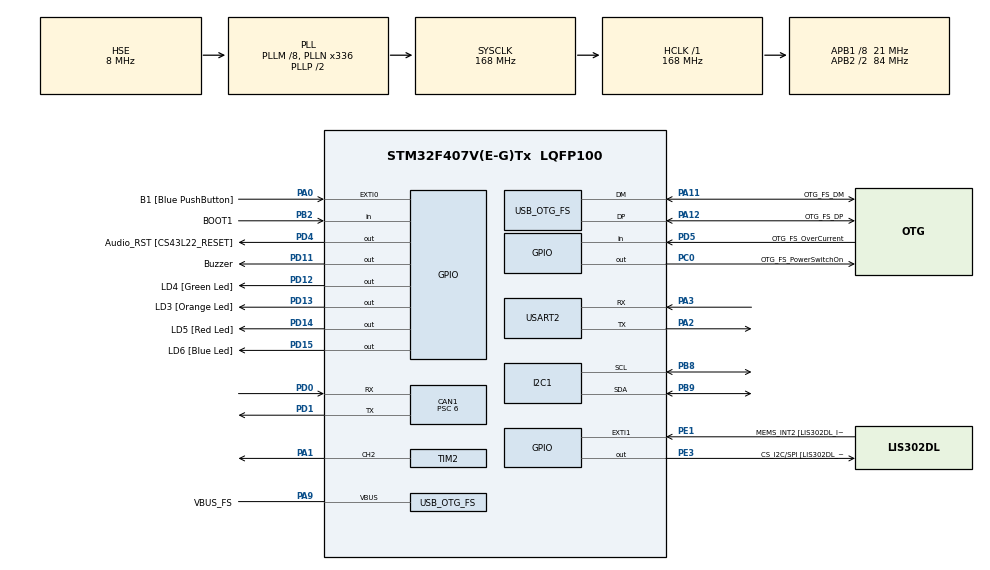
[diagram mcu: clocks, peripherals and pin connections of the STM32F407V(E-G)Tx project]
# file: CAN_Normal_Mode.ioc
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CAN1.BS1=CAN_BS1_11TQ
CAN1.BS2=CAN_BS2_2TQ
CAN1.CalculateBaudRate=250000
CAN1.CalculateTimeBit=4000
CAN1.CalculateTimeQuantum=285.7142857142857
CAN1.Mode=CAN_MODE_NORMAL
CAN1.Prescaler=6
Mcu.Family=STM32F4
Mcu.Name=STM32F407V(E-G)Tx
Mcu.Package=LQFP100
NVIC.CAN1_RX0_IRQn=true\:0\:0\:false\:false\:true\:true\:true\:true
NVIC.CAN1_RX1_IRQn=true\:0\:0\:false\:false\:true\:true\:true\:true
NVIC.CAN1_SCE_IRQn=true\:0\:0\:false\:false\:true\:true\:true\:true
NVIC.CAN1_TX_IRQn=true\:0\:0\:false\:false\:true\:true\:true\:true
NVIC.OTG_FS_IRQn=true\:0\:0\:false\:false\:true\:true\:true\:true
NVIC.PriorityGroup=NVIC_PRIORITYGROUP_0
NVIC.TIM2_IRQn=true\:0\:0\:false\:false\:true\:true\:true\:true
PA0-WKUP.GPIO_Label=B1 [Blue PushButton]
PA0-WKUP.GPIO_ModeDefaultEXTI=GPIO_MODE_EVT_RISING
PA0-WKUP.GPIO_PuPd=GPIO_NOPULL
PA0-WKUP.Signal=GPXTI0
PA1.Signal=S_TIM2_CH2
PA10.GPIO_Label=OTG_FS_ID
PA10.GPIO_Mode=GPIO_MODE_AF_PP
PA10.GPIO_PuPd=GPIO_NOPULL
PA10.GPIO_Speed=GPIO_SPEED_FREQ_LOW
PA10.Signal=USB_OTG_FS_ID
PA11.GPIO_Label=OTG_FS_DM
PA11.GPIO_Mode=GPIO_MODE_AF_PP
PA11.GPIO_PuPd=GPIO_NOPULL
PA11.GPIO_Speed=GPIO_SPEED_FREQ_LOW
PA11.Mode=Host_Only
PA11.Signal=USB_OTG_FS_DM
PA12.GPIO_Label=OTG_FS_DP
PA12.GPIO_Mode=GPIO_MODE_AF_PP
PA12.GPIO_PuPd=GPIO_NOPULL
PA12.GPIO_Speed=GPIO_SPEED_FREQ_LOW
PA12.Mode=Host_Only
PA12.Signal=USB_OTG_FS_DP
PA13.GPIO_Label=SWDIO
PA13.Mode=Serial_Wire
PA13.Signal=SYS_JTMS-SWDIO
PA14.GPIO_Label=SWCLK
PA14.Mode=Serial_Wire
PA14.Signal=SYS_JTCK-SWCLK
PA2.Mode=Asynchronous
PA2.Signal=USART2_TX
PA3.Mode=Asynchronous
PA3.Signal=USART2_RX
PA4.GPIO_Label=I2S3_WS [CS43L22_LRCK]
PA4.GPIO_Mode=GPIO_MODE_AF_PP
PA4.GPIO_PuPd=GPIO_NOPULL
PA4.GPIO_Speed=GPIO_SPEED_FREQ_LOW
PA4.Signal=I2S3_WS
PA5.GPIO_Label=SPI1_SCK [LIS302DL_SCL/SPC]
PA5.GPIO_Mode=GPIO_MODE_AF_PP
PA5.GPIO_PuPd=GPIO_NOPULL
PA5.GPIO_Speed=GPIO_SPEED_FREQ_LOW
PA5.Signal=SPI1_SCK
PA6.GPIO_Label=SPI1_MISO [LIS302DL_SDO]
PA6.GPIO_Mode=GPIO_MODE_AF_PP
PA6.GPIO_PuPd=GPIO_NOPULL
PA6.GPIO_Speed=GPIO_SPEED_FREQ_LOW
PA6.Signal=SPI1_MISO
PA7.GPIO_Label=SPI1_MOSI [LIS302DL_SDA/SDI/SDO]
PA7.GPIO_Mode=GPIO_MODE_AF_PP
PA7.GPIO_PuPd=GPIO_NOPULL
PA7.GPIO_Speed=GPIO_SPEED_FREQ_LOW
PA7.Signal=SPI1_MOSI
PA9.GPIO_Label=VBUS_FS
PA9.GPIO_Mode=GPIO_MODE_INPUT
PA9.GPIO_PuPd=GPIO_NOPULL
PA9.Mode=Activate_VBUS
PA9.Signal=USB_OTG_FS_VBUS
PB10.GPIO_Label=CLK_IN [MP45DT02_CLK]
PB10.GPIO_Mode=GPIO_MODE_AF_PP
PB10.GPIO_PuPd=GPIO_NOPULL
PB10.GPIO_Speed=GPIO_SPEED_FREQ_LOW
PB10.Signal=I2S2_CK
PB2.GPIO_Label=BOOT1
PB2.GPIO_Mode=GPIO_MODE_INPUT
PB2.GPIO_PuPd=GPIO_NOPULL
PB2.Signal=GPIO_Input
PB3.GPIO_Label=SWO
PB3.Signal=SYS_JTDO-SWO
PB8.Mode=I2C
PB8.Signal=I2C1_SCL
PB9.Mode=I2C
PB9.Signal=I2C1_SDA
PC0.GPIO_Label=OTG_FS_PowerSwitchOn
PC0.GPIO_PuPd=GPIO_NOPULL
PC0.GPIO_Speed=GPIO_SPEED_FREQ_LOW
PC0.PinState=GPIO_PIN_SET
PC0.Signal=GPIO_Output
PC10.GPIO_Label=I2S3_SCK [CS43L22_SCLK]
PC10.GPIO_Mode=GPIO_MODE_AF_PP
PC10.GPIO_PuPd=GPIO_NOPULL
PC10.GPIO_Speed=GPIO_SPEED_FREQ_LOW
PC10.Signal=I2S3_CK
PC12.GPIO_Label=I2S3_SD [CS43L22_SDIN]
PC12.GPIO_Mode=GPIO_MODE_AF_PP
PC12.GPIO_PuPd=GPIO_NOPULL
PC12.GPIO_Speed=GPIO_SPEED_FREQ_LOW
PC12.Signal=I2S3_SD
PC14-OSC32_IN.GPIO_Label=PC14-OSC32_IN
PC14-OSC32_IN.Mode=LSE-External-Oscillator
PC14-OSC32_IN.Signal=RCC_OSC32_IN
PC15-OSC32_OUT.GPIO_Label=PC15-OSC32_OUT
PC15-OSC32_OUT.Mode=LSE-External-Oscillator
PC15-OSC32_OUT.Signal=RCC_OSC32_OUT
PC3.GPIO_Label=PDM_OUT [MP45DT02_DOUT]
PC3.GPIO_Mode=GPIO_MODE_AF_PP
PC3.GPIO_PuPd=GPIO_NOPULL
PC3.GPIO_Speed=GPIO_SPEED_FREQ_LOW
PC3.Signal=I2S2_SD
PC7.GPIO_Label=I2S3_MCK [CS43L22_MCLK]
PC7.GPIO_Mode=GPIO_MODE_AF_PP
PC7.GPIO_PuPd=GPIO_NOPULL
PC7.GPIO_Speed=GPIO_SPEED_FREQ_LOW
PC7.Signal=I2S3_MCK
PD0.Mode=CAN_Activate
PD0.Signal=CAN1_RX
PD1.Mode=CAN_Activate
PD1.Signal=CAN1_TX
PD11.GPIO_Label=Buzzer
PD11.Signal=GPIO_Output
PD12.GPIO_Label=LD4 [Green Led]
PD12.GPIO_PuPd=GPIO_NOPULL
PD12.GPIO_Speed=GPIO_SPEED_FREQ_LOW
PD12.Signal=GPIO_Output
PD13.GPIO_Label=LD3 [Orange Led]
PD13.GPIO_PuPd=GPIO_NOPULL
PD13.GPIO_Speed=GPIO_SPEED_FREQ_LOW
PD13.Signal=GPIO_Output
PD14.GPIO_Label=LD5 [Red Led]
PD14.GPIO_PuPd=GPIO_NOPULL
PD14.GPIO_Speed=GPIO_SPEED_FREQ_LOW
PD14.Signal=GPIO_Output
PD15.GPIO_Label=LD6 [Blue Led]
PD15.GPIO_PuPd=GPIO_NOPULL
PD15.GPIO_Speed=GPIO_SPEED_FREQ_LOW
PD15.Signal=GPIO_Output
PD4.GPIO_Label=Audio_RST [CS43L22_RESET]
PD4.GPIO_PuPd=GPIO_NOPULL
PD4.GPIO_Speed=GPIO_SPEED_FREQ_LOW
PD4.Signal=GPIO_Output
PD5.GPIO_Label=OTG_FS_OverCurrent
PD5.GPIO_Mode=GPIO_MODE_INPUT
PD5.GPIO_PuPd=GPIO_NOPULL
PD5.Signal=GPIO_Input
PE1.GPIO_Label=MEMS_INT2 [LIS302DL_INT2]
PE1.GPIO_ModeDefaultEXTI=GPIO_MODE_EVT_RISING
PE1.GPIO_PuPd=GPIO_NOPULL
PE1.Signal=GPXTI1
PE3.GPIO_Label=CS_I2C/SPI [LIS302DL_CS_I2C/SPI]
PE3.GPIO_PuPd=GPIO_NOPULL
PE3.GPIO_Speed=GPIO_SPEED_FREQ_LOW
PE3.Signal=GPIO_Output
PH0-OSC_IN.GPIO_Label=PH0-OSC_IN
PH0-OSC_IN.Mode=HSE-External-Oscillator
PH0-OSC_IN.Signal=RCC_OSC_IN
PH1-OSC_OUT.GPIO_Label=PH1-OSC_OUT
PH1-OSC_OUT.Mode=HSE-External-Oscillator
PH1-OSC_OUT.Signal=RCC_OSC_OUT
ProjectManager.HeapSize=0x200
ProjectManager.StackSize=0x400
ProjectManager.TargetToolchain=STM32CubeIDE
RCC.48MHZClocksFreq_Value=48000000
RCC.AHBFreq_Value=168000000
RCC.APB1CLKDivider=RCC_HCLK_DIV8
RCC.APB1Freq_Value=21000000
RCC.APB1TimFreq_Value=42000000
RCC.APB2CLKDivider=RCC_HCLK_DIV2
RCC.APB2Freq_Value=84000000
RCC.APB2TimFreq_Value=168000000
RCC.CortexFreq_Value=168000000
RCC.HCLKFreq_Value=168000000
RCC.HSE_VALUE=8000000
RCC.HSI_VALUE=16000000
RCC.PLLM=8
RCC.PLLN=336
RCC.PLLQ=7
RCC.SYSCLKFreq_VALUE=168000000
RCC.SYSCLKSource=RCC_SYSCLKSOURCE_PLLCLK
RCC.VCOOutputFreq_Value=336000000
SH.S_TIM2_CH2.0=TIM2_CH2,PWM Generation2 CH2
TIM2.Channel-PWM\ Generation2\ CH2=TIM_CHANNEL_2
TIM2.Period=10000-1
TIM2.Prescaler=84-1
USART2.VirtualMode=VM_ASYNC
USB_HOST.BSP.number=1
USB_HOST.USBH_HandleTypeDef-CDC_FS=hUsbHostFS
USB_HOST.VirtualModeFS=Cdc
USB_HOST0.BSP.STBoard=false
USB_HOST0.BSP.api=Unknown
USB_HOST0.BSP.instance=PC0
USB_HOST0.BSP.ip=GPIO
USB_HOST0.BSP.mode=Output
USB_HOST0.BSP.name=Drive_VBUS_FS
USB_HOST0.BSP.solution=PC0
USB_OTG_FS.VirtualMode=Host_Only
USB_OTG_FS.phy_itface=HCD_PHY_EMBEDDED
VP_TIM2_VS_ClockSourceINT.Mode=Internal
VP_USB_HOST_VS_USB_HOST_CDC_FS.Mode=CDC_FS
board=STM32F407G-DISC1

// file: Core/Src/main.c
/* USER CODE BEGIN Header */
/**
  ******************************************************************************
  * @file           : main.c
  * @brief          : Main program body
  ******************************************************************************
  * @attention
  *
  * Copyright (c) 2024 STMicroelectronics.
  * All rights reserved.
  *
  * This software is licensed under terms that can be found in the LICENSE file
  * in the root directory of this software component.
  * If no LICENSE file comes with this software, it is provided AS-IS.
  *
  ******************************************************************************
  */
/* USER CODE END Header */
#include "main.h"
#include "usb_host.h"

/* USER CODE BEGIN Includes */
#include <stdio.h>
#include <string.h>
/* USER CODE END Includes */

/* USER CODE BEGIN PD */
#define SLAVE_ADDRESS_LCD  (0x27 << 1)

#define LCD_BACKLIGHT 0x08
#define LCD_NOBACKLIGHT 0x00
/* USER CODE END PD */

CAN_HandleTypeDef hcan1;

I2C_HandleTypeDef hi2c1;

TIM_HandleTypeDef htim2;

UART_HandleTypeDef huart2;

/* USER CODE BEGIN PV */
CAN_RxHeaderTypeDef RxHeader;
uint32_t delay = 0;
uint8_t fire = 0;
/* USER CODE END PV */

void SystemClock_Config(void);
static void MX_GPIO_Init(void);
static void MX_CAN1_Init(void);
static void MX_USART2_UART_Init(void);
static void MX_I2C1_Init(void);
static void MX_TIM2_Init(void);
void MX_USB_HOST_Process(void);

/* USER CODE BEGIN PFP */

static void CAN_Filter_Config(void);
static void distanceAction(uint32_t response);
static void distanceAlarm(uint32_t delay);
static void checkFire(uint8_t fire);
void lcd_init (void);   // initialize lcd

void lcd_send_cmd (char cmd);  // send command to the lcd

void lcd_send_data (char data);  // send data to the lcd

void lcd_send_string (char *str);  // send string to the lcd

void lcd_put_cur(int row, int col);  // put cursor at the entered position row (0 or 1), col (0-15);

void lcd_clear (void);
/* USER CODE END PFP */

/* USER CODE BEGIN 0 */
char msg[50];
/* USER CODE END 0 */

int main(void)
{

  /* MCU Configuration--------------------------------------------------------*/

  /* Reset of all peripherals, Initializes the Flash interface and the Systick. */
  HAL_Init();

  /* Configure the system clock */
  SystemClock_Config();

  /* Initialize all configured peripherals */
  MX_GPIO_Init();
  MX_USB_HOST_Init();
  MX_CAN1_Init();
  MX_USART2_UART_Init();
  MX_I2C1_Init();
  MX_TIM2_Init();
  /* USER CODE BEGIN 2 */

  lcd_init();

  CAN_Filter_Config();

  if(HAL_CAN_ActivateNotification(&hcan1,CAN_IT_TX_MAILBOX_EMPTY | CAN_IT_RX_FIFO0_MSG_PENDING | CAN_IT_BUSOFF) != HAL_OK)
  {
	  Error_Handler();
  }

  if( HAL_CAN_Start(&hcan1) != HAL_OK)
  {
	  Error_Handler();
  }

  sprintf(msg,"Started\r\n");
  HAL_UART_Transmit(&huart2,(uint8_t*)msg,strlen(msg),HAL_MAX_DELAY);

  /* USER CODE END 2 */

  /* Infinite loop */
  while (1)
  {
    MX_USB_HOST_Process();

    /* USER CODE BEGIN 3 */
    distanceAlarm(delay);
    checkFire(fire);
  }
  /* USER CODE END 3 */
}

void SystemClock_Config(void)
{
  RCC_OscInitTypeDef RCC_OscInitStruct = {0};
  RCC_ClkInitTypeDef RCC_ClkInitStruct = {0};

  /** Configure the main internal regulator output voltage
  */
  __HAL_RCC_PWR_CLK_ENABLE();
  __HAL_PWR_VOLTAGESCALING_CONFIG(PWR_REGULATOR_VOLTAGE_SCALE1);

  /** Initializes the RCC Oscillators according to the specified parameters
  * in the RCC_OscInitTypeDef structure.
  */
  RCC_OscInitStruct.OscillatorType = RCC_OSCILLATORTYPE_HSE;
  RCC_OscInitStruct.HSEState = RCC_HSE_ON;
  RCC_OscInitStruct.PLL.PLLState = RCC_PLL_ON;
  RCC_OscInitStruct.PLL.PLLSource = RCC_PLLSOURCE_HSE;
  RCC_OscInitStruct.PLL.PLLM = 8;
  RCC_OscInitStruct.PLL.PLLN = 336;
  RCC_OscInitStruct.PLL.PLLP = RCC_PLLP_DIV2;
  RCC_OscInitStruct.PLL.PLLQ = 7;
  if (HAL_RCC_OscConfig(&RCC_OscInitStruct) != HAL_OK)
  {
    Error_Handler();
  }

  /** Initializes the CPU, AHB and APB buses clocks
  */
  RCC_ClkInitStruct.ClockType = RCC_CLOCKTYPE_HCLK|RCC_CLOCKTYPE_SYSCLK
                              |RCC_CLOCKTYPE_PCLK1|RCC_CLOCKTYPE_PCLK2;
  RCC_ClkInitStruct.SYSCLKSource = RCC_SYSCLKSOURCE_PLLCLK;
  RCC_ClkInitStruct.AHBCLKDivider = RCC_SYSCLK_DIV1;
  RCC_ClkInitStruct.APB1CLKDivider = RCC_HCLK_DIV8;
  RCC_ClkInitStruct.APB2CLKDivider = RCC_HCLK_DIV2;

  if (HAL_RCC_ClockConfig(&RCC_ClkInitStruct, FLASH_LATENCY_5) != HAL_OK)
  {
    Error_Handler();
  }
}

static void MX_CAN1_Init(void)
{

  hcan1.Instance = CAN1;
  hcan1.Init.Prescaler = 6;
  hcan1.Init.Mode = CAN_MODE_NORMAL;
  hcan1.Init.SyncJumpWidth = CAN_SJW_1TQ;
  hcan1.Init.TimeSeg1 = CAN_BS1_11TQ;
  hcan1.Init.TimeSeg2 = CAN_BS2_2TQ;
  hcan1.Init.TimeTriggeredMode = DISABLE;
  hcan1.Init.AutoBusOff = DISABLE;
  hcan1.Init.AutoWakeUp = DISABLE;
  hcan1.Init.AutoRetransmission = DISABLE;
  hcan1.Init.ReceiveFifoLocked = DISABLE;
  hcan1.Init.TransmitFifoPriority = DISABLE;
  if (HAL_CAN_Init(&hcan1) != HAL_OK)
  {
    Error_Handler();
  }

}

static void MX_I2C1_Init(void)
{

  hi2c1.Instance = I2C1;
  hi2c1.Init.ClockSpeed = 100000;
  hi2c1.Init.DutyCycle = I2C_DUTYCYCLE_2;
  hi2c1.Init.OwnAddress1 = 0;
  hi2c1.Init.AddressingMode = I2C_ADDRESSINGMODE_7BIT;
  hi2c1.Init.DualAddressMode = I2C_DUALADDRESS_DISABLE;
  hi2c1.Init.OwnAddress2 = 0;
  hi2c1.Init.GeneralCallMode = I2C_GENERALCALL_DISABLE;
  hi2c1.Init.NoStretchMode = I2C_NOSTRETCH_DISABLE;
  if (HAL_I2C_Init(&hi2c1) != HAL_OK)
  {
    Error_Handler();
  }

}

static void MX_TIM2_Init(void)
{

  TIM_ClockConfigTypeDef sClockSourceConfig = {0};
  TIM_MasterConfigTypeDef sMasterConfig = {0};
  TIM_OC_InitTypeDef sConfigOC = {0};

  htim2.Instance = TIM2;
  htim2.Init.Prescaler = 84-1;
  htim2.Init.CounterMode = TIM_COUNTERMODE_UP;
  htim2.Init.Period = 10000-1;
  htim2.Init.ClockDivision = TIM_CLOCKDIVISION_DIV1;
  htim2.Init.AutoReloadPreload = TIM_AUTORELOAD_PRELOAD_DISABLE;
  if (HAL_TIM_Base_Init(&htim2) != HAL_OK)
  {
    Error_Handler();
  }
  sClockSourceConfig.ClockSource = TIM_CLOCKSOURCE_INTERNAL;
  if (HAL_TIM_ConfigClockSource(&htim2, &sClockSourceConfig) != HAL_OK)
  {
    Error_Handler();
  }
  if (HAL_TIM_PWM_Init(&htim2) != HAL_OK)
  {
    Error_Handler();
  }
  sMasterConfig.MasterOutputTrigger = TIM_TRGO_RESET;
  sMasterConfig.MasterSlaveMode = TIM_MASTERSLAVEMODE_DISABLE;
  if (HAL_TIMEx_MasterConfigSynchronization(&htim2, &sMasterConfig) != HAL_OK)
  {
    Error_Handler();
  }
  sConfigOC.OCMode = TIM_OCMODE_PWM1;
  sConfigOC.Pulse = 0;
  sConfigOC.OCPolarity = TIM_OCPOLARITY_HIGH;
  sConfigOC.OCFastMode = TIM_OCFAST_DISABLE;
  if (HAL_TIM_PWM_ConfigChannel(&htim2, &sConfigOC, TIM_CHANNEL_2) != HAL_OK)
  {
    Error_Handler();
  }
  HAL_TIM_MspPostInit(&htim2);

}

static void MX_USART2_UART_Init(void)
{

  huart2.Instance = USART2;
  huart2.Init.BaudRate = 115200;
  huart2.Init.WordLength = UART_WORDLENGTH_8B;
  huart2.Init.StopBits = UART_STOPBITS_1;
  huart2.Init.Parity = UART_PARITY_NONE;
  huart2.Init.Mode = UART_MODE_TX_RX;
  huart2.Init.HwFlowCtl = UART_HWCONTROL_NONE;
  huart2.Init.OverSampling = UART_OVERSAMPLING_16;
  if (HAL_UART_Init(&huart2) != HAL_OK)
  {
    Error_Handler();
  }

}

static void MX_GPIO_Init(void)
{
  GPIO_InitTypeDef GPIO_InitStruct = {0};

  /* GPIO Ports Clock Enable */
  __HAL_RCC_GPIOE_CLK_ENABLE();
  __HAL_RCC_GPIOC_CLK_ENABLE();
  __HAL_RCC_GPIOH_CLK_ENABLE();
  __HAL_RCC_GPIOA_CLK_ENABLE();
  __HAL_RCC_GPIOB_CLK_ENABLE();
  __HAL_RCC_GPIOD_CLK_ENABLE();

  /*Configure GPIO pin Output Level */
  HAL_GPIO_WritePin(CS_I2C_SPI_GPIO_Port, CS_I2C_SPI_Pin, GPIO_PIN_RESET);

  /*Configure GPIO pin Output Level */
  HAL_GPIO_WritePin(OTG_FS_PowerSwitchOn_GPIO_Port, OTG_FS_PowerSwitchOn_Pin, GPIO_PIN_SET);

  /*Configure GPIO pin Output Level */
  HAL_GPIO_WritePin(GPIOD, Buzzer_Pin|LD4_Pin|LD3_Pin|LD5_Pin
                          |LD6_Pin|Audio_RST_Pin, GPIO_PIN_RESET);

  /*Configure GPIO pin : CS_I2C_SPI_Pin */
  GPIO_InitStruct.Pin = CS_I2C_SPI_Pin;
  GPIO_InitStruct.Mode = GPIO_MODE_OUTPUT_PP;
  GPIO_InitStruct.Pull = GPIO_NOPULL;
  GPIO_InitStruct.Speed = GPIO_SPEED_FREQ_LOW;
  HAL_GPIO_Init(CS_I2C_SPI_GPIO_Port, &GPIO_InitStruct);

  /*Configure GPIO pin : OTG_FS_PowerSwitchOn_Pin */
  GPIO_InitStruct.Pin = OTG_FS_PowerSwitchOn_Pin;
  GPIO_InitStruct.Mode = GPIO_MODE_OUTPUT_PP;
  GPIO_InitStruct.Pull = GPIO_NOPULL;
  GPIO_InitStruct.Speed = GPIO_SPEED_FREQ_LOW;
  HAL_GPIO_Init(OTG_FS_PowerSwitchOn_GPIO_Port, &GPIO_InitStruct);

  /*Configure GPIO pin : PDM_OUT_Pin */
  GPIO_InitStruct.Pin = PDM_OUT_Pin;
  GPIO_InitStruct.Mode = GPIO_MODE_AF_PP;
  GPIO_InitStruct.Pull = GPIO_NOPULL;
  GPIO_InitStruct.Speed = GPIO_SPEED_FREQ_LOW;
  GPIO_InitStruct.Alternate = GPIO_AF5_SPI2;
  HAL_GPIO_Init(PDM_OUT_GPIO_Port, &GPIO_InitStruct);

  /*Configure GPIO pin : B1_Pin */
  GPIO_InitStruct.Pin = B1_Pin;
  GPIO_InitStruct.Mode = GPIO_MODE_EVT_RISING;
  GPIO_InitStruct.Pull = GPIO_NOPULL;
  HAL_GPIO_Init(B1_GPIO_Port, &GPIO_InitStruct);

  /*Configure GPIO pin : I2S3_WS_Pin */
  GPIO_InitStruct.Pin = I2S3_WS_Pin;
  GPIO_InitStruct.Mode = GPIO_MODE_AF_PP;
  GPIO_InitStruct.Pull = GPIO_NOPULL;
  GPIO_InitStruct.Speed = GPIO_SPEED_FREQ_LOW;
  GPIO_InitStruct.Alternate = GPIO_AF6_SPI3;
  HAL_GPIO_Init(I2S3_WS_GPIO_Port, &GPIO_InitStruct);

  /*Configure GPIO pins : SPI1_SCK_Pin SPI1_MISO_Pin SPI1_MOSI_Pin */
  GPIO_InitStruct.Pin = SPI1_SCK_Pin|SPI1_MISO_Pin|SPI1_MOSI_Pin;
  GPIO_InitStruct.Mode = GPIO_MODE_AF_PP;
  GPIO_InitStruct.Pull = GPIO_NOPULL;
  GPIO_InitStruct.Speed = GPIO_SPEED_FREQ_LOW;
  GPIO_InitStruct.Alternate = GPIO_AF5_SPI1;
  HAL_GPIO_Init(GPIOA, &GPIO_InitStruct);

  /*Configure GPIO pin : BOOT1_Pin */
  GPIO_InitStruct.Pin = BOOT1_Pin;
  GPIO_InitStruct.Mode = GPIO_MODE_INPUT;
  GPIO_InitStruct.Pull = GPIO_NOPULL;
  HAL_GPIO_Init(BOOT1_GPIO_Port, &GPIO_InitStruct);

  /*Configure GPIO pin : CLK_IN_Pin */
  GPIO_InitStruct.Pin = CLK_IN_Pin;
  GPIO_InitStruct.Mode = GPIO_MODE_AF_PP;
  GPIO_InitStruct.Pull = GPIO_NOPULL;
  GPIO_InitStruct.Speed = GPIO_SPEED_FREQ_LOW;
  GPIO_InitStruct.Alternate = GPIO_AF5_SPI2;
  HAL_GPIO_Init(CLK_IN_GPIO_Port, &GPIO_InitStruct);

  /*Configure GPIO pins : Buzzer_Pin LD4_Pin LD3_Pin LD5_Pin
                           LD6_Pin Audio_RST_Pin */
  GPIO_InitStruct.Pin = Buzzer_Pin|LD4_Pin|LD3_Pin|LD5_Pin
                          |LD6_Pin|Audio_RST_Pin;
  GPIO_InitStruct.Mode = GPIO_MODE_OUTPUT_PP;
  GPIO_InitStruct.Pull = GPIO_NOPULL;
  GPIO_InitStruct.Speed = GPIO_SPEED_FREQ_LOW;
  HAL_GPIO_Init(GPIOD, &GPIO_InitStruct);

  /*Configure GPIO pins : I2S3_MCK_Pin I2S3_SCK_Pin I2S3_SD_Pin */
  GPIO_InitStruct.Pin = I2S3_MCK_Pin|I2S3_SCK_Pin|I2S3_SD_Pin;
  GPIO_InitStruct.Mode = GPIO_MODE_AF_PP;
  GPIO_InitStruct.Pull = GPIO_NOPULL;
  GPIO_InitStruct.Speed = GPIO_SPEED_FREQ_LOW;
  GPIO_InitStruct.Alternate = GPIO_AF6_SPI3;
  HAL_GPIO_Init(GPIOC, &GPIO_InitStruct);

  /*Configure GPIO pin : OTG_FS_OverCurrent_Pin */
  GPIO_InitStruct.Pin = OTG_FS_OverCurrent_Pin;
  GPIO_InitStruct.Mode = GPIO_MODE_INPUT;
  GPIO_InitStruct.Pull = GPIO_NOPULL;
  HAL_GPIO_Init(OTG_FS_OverCurrent_GPIO_Port, &GPIO_InitStruct);

  /*Configure GPIO pin : MEMS_INT2_Pin */
  GPIO_InitStruct.Pin = MEMS_INT2_Pin;
  GPIO_InitStruct.Mode = GPIO_MODE_EVT_RISING;
  GPIO_InitStruct.Pull = GPIO_NOPULL;
  HAL_GPIO_Init(MEMS_INT2_GPIO_Port, &GPIO_InitStruct);

}

/* USER CODE BEGIN 4 */

static void CAN_Filter_Config(void)
{
	CAN_FilterTypeDef can1_filter_init;

	can1_filter_init.FilterActivation = ENABLE;
	can1_filter_init.FilterBank  = 0;
	can1_filter_init.FilterFIFOAssignment = CAN_RX_FIFO0;
	can1_filter_init.FilterIdHigh = 0x0000;
	can1_filter_init.FilterIdLow = 0x0000;
	can1_filter_init.FilterMaskIdHigh = 0x0000;
	can1_filter_init.FilterMaskIdLow = 0x0000;
	can1_filter_init.FilterMode = CAN_FILTERMODE_IDMASK;
	can1_filter_init.FilterScale = CAN_FILTERSCALE_32BIT;

	if( HAL_CAN_ConfigFilter(&hcan1,&can1_filter_init) != HAL_OK)
	{
		Error_Handler();
	}
}

void HAL_CAN_TxMailbox0CompleteCallback(CAN_HandleTypeDef *hcan)
{

	char msg[50];
	sprintf(msg,"Message Transmitted:M0\r\n");
	HAL_UART_Transmit(&huart2,(uint8_t*)msg,strlen(msg),HAL_MAX_DELAY);

}

void HAL_CAN_TxMailbox1CompleteCallback(CAN_HandleTypeDef *hcan)
{
	char msg[50];
	sprintf(msg,"Message Transmitted:M1\r\n");
	HAL_UART_Transmit(&huart2,(uint8_t*)msg,strlen(msg),HAL_MAX_DELAY);

}

void HAL_CAN_TxMailbox2CompleteCallback(CAN_HandleTypeDef *hcan)
{
	char msg[50];
	sprintf(msg,"Message Transmitted:M2\r\n");
	HAL_UART_Transmit(&huart2,(uint8_t*)msg,strlen(msg),HAL_MAX_DELAY);
}

void HAL_CAN_RxFifo0MsgPendingCallback(CAN_HandleTypeDef *hcan)
{

	uint8_t rcvd_msg[8];

	char msg[50];

	if(HAL_CAN_GetRxMessage(hcan,CAN_RX_FIFO0,&RxHeader,rcvd_msg) != HAL_OK)
	{
		Error_Handler();
	}

	if ( RxHeader.StdId == 0x651 && RxHeader.RTR == CAN_RTR_DATA ) //its a reply ( data frame) by F103_1 to F407 DISTANCE SENSOR
	{
		uint16_t response = (rcvd_msg[0] << 8) | rcvd_msg[1];
		distanceAction(response);
		sprintf(msg,"Distance : %dcm\r\n",response);
		HAL_UART_Transmit(&huart2,(uint8_t*)msg,strlen(msg),HAL_MAX_DELAY);
		lcd_put_cur(0, 0);
		lcd_send_string(msg);

	}

	else if ( RxHeader.StdId == 0x652 && RxHeader.RTR == CAN_RTR_DATA ) //its a reply ( data frame) by F103_2 to F407 SOUND SENSOR
	{
		uint16_t response = rcvd_msg[0];
		if (response) {

			sprintf(msg,"High Noise Level!\r\n");
			HAL_UART_Transmit(&huart2,(uint8_t*)msg,strlen(msg),HAL_MAX_DELAY);
			HAL_UART_Transmit(&huart2,(uint8_t*)msg,strlen(msg),HAL_MAX_DELAY);
			lcd_put_cur(1, 0);
			lcd_send_string(msg);
		}

	}

	else if ( RxHeader.StdId == 0x650 && RxHeader.RTR == CAN_RTR_DATA ) //its a reply ( data frame) by F103_2 to F407 TEMPERATURE SENSOR
	{
		uint16_t response = (rcvd_msg[0] << 8) | rcvd_msg[1];
		if (response) {

			sprintf(msg,"Temperature:%d C\r\n",response);
			HAL_UART_Transmit(&huart2,(uint8_t*)msg,strlen(msg),HAL_MAX_DELAY);
			lcd_put_cur(1, 0);
			lcd_send_string(msg);

			if (response > 40) {
				fire = 1;
			}else{
				fire = 0;
			}

		}

	}

}

void HAL_CAN_ErrorCallback(CAN_HandleTypeDef *hcan)
{

	char msg[50];
	sprintf(msg,"CAN Error Detected: HAL_CAN_ErrorCallback\r\n");
	HAL_UART_Transmit(&huart2,(uint8_t*)msg,strlen(msg),HAL_MAX_DELAY);

}

static void distanceAction(uint32_t response){
	if (response <= 40 && response > 30){
		delay = 500;
	}else if (response <= 30 && response > 20){
		delay = 250;
	}else if (response <= 20 && response > 15){
		delay = 125;
	}else if (response <= 15 && response > 10){
		delay = 50;
	}else if (response <= 10){
		delay = 1;
	}else{
		delay = 0;
	}
}

static void distanceAlarm(uint32_t delay){

	if (delay){
		HAL_GPIO_WritePin(Buzzer_GPIO_Port, Buzzer_Pin, GPIO_PIN_SET);
		HAL_Delay(delay);
		HAL_GPIO_WritePin(Buzzer_GPIO_Port, Buzzer_Pin, GPIO_PIN_RESET);
		HAL_Delay(delay);
	}else{
		HAL_GPIO_WritePin(Buzzer_GPIO_Port, Buzzer_Pin, GPIO_PIN_RESET);
	}

}

static void checkFire(uint8_t fire){

	if (fire) {

		  HAL_TIM_PWM_Start(&htim2, TIM_CHANNEL_2);
		  __HAL_TIM_SET_COMPARE(&htim2,TIM_CHANNEL_2, 250);
		  HAL_Delay(500);
		  __HAL_TIM_SET_COMPARE(&htim2,TIM_CHANNEL_2, 750);
		  HAL_Delay(500);
		  __HAL_TIM_SET_COMPARE(&htim2,TIM_CHANNEL_2, 1250);

	}

}

void lcd_send_cmd (char cmd)
{
  char data_u, data_l;
	uint8_t data_t[4];
	data_u = (cmd&0xf0);
	data_l = ((cmd<<4)&0xf0);
	data_t[0] = data_u|0x0C;  //en=1, rs=0
	data_t[1] = data_u|0x08;  //en=0, rs=0
	data_t[2] = data_l|0x0C;  //en=1, rs=0
	data_t[3] = data_l|0x08;  //en=0, rs=0
	HAL_I2C_Master_Transmit (&hi2c1, SLAVE_ADDRESS_LCD,(uint8_t *) data_t, 4, 100);
}

void lcd_send_data (char data)
{
	char data_u, data_l;
	uint8_t data_t[4];
	data_u = (data&0xf0);
	data_l = ((data<<4)&0xf0);
	data_t[0] = data_u|0x0D;  //en=1, rs=0
	data_t[1] = data_u|0x09;  //en=0, rs=0
	data_t[2] = data_l|0x0D;  //en=1, rs=0
	data_t[3] = data_l|0x09;  //en=0, rs=0
	HAL_I2C_Master_Transmit (&hi2c1, SLAVE_ADDRESS_LCD,(uint8_t *) data_t, 4, 100);
}

void lcd_clear (void)
{
	lcd_send_cmd (0x80);
	for (int i=0; i<70; i++)
	{
		lcd_send_data (' ');
	}
}

void lcd_put_cur(int row, int col)
{
    switch (row)
    {
        case 0:
            col |= 0x80;
            break;
        case 1:
            col |= 0xC0;
            break;
    }

    lcd_send_cmd (col);
}

void lcd_init (void)
{
	// 4 bit initialisation
	HAL_Delay(50);  // wait for >40ms
	lcd_send_cmd (0x30);
	HAL_Delay(5);  // wait for >4.1ms
	lcd_send_cmd (0x30);
	HAL_Delay(1);  // wait for >100us
	lcd_send_cmd (0x30);
	HAL_Delay(10);
	lcd_send_cmd (0x20);  // 4bit mode
	HAL_Delay(10);

  // dislay initialisation
	lcd_send_cmd (0x28); // Function set --> DL=0 (4 bit mode), N = 1 (2 line display) F = 0 (5x8 characters)
	HAL_Delay(1);
	lcd_send_cmd (0x08); //Display on/off control --> D=0,C=0, B=0  ---> display off
	HAL_Delay(1);
	lcd_send_cmd (0x01);  // clear display
	HAL_Delay(1);
	HAL_Delay(1);
	lcd_send_cmd (0x06); //Entry mode set --> I/D = 1 (increment cursor) & S = 0 (no shift)
	HAL_Delay(1);
	lcd_send_cmd (0x0C); //Display on/off control --> D = 1, C and B = 0. (Cursor and blink, last two bits)
}

void lcd_send_string (char *str)
{
	while (*str) lcd_send_data (*str++);
}

/* USER CODE END 4 */

void Error_Handler(void)
{
  /* USER CODE BEGIN Error_Handler_Debug */
	char msg[50];
	sprintf(msg,"Error_Handler\r\n");
	HAL_UART_Transmit(&huart2,(uint8_t*)msg,strlen(msg),HAL_MAX_DELAY);

  /* User can add his own implementation to report the HAL error return state */
  __disable_irq();
  while (1)
  {
  }
  /* USER CODE END Error_Handler_Debug */
}
